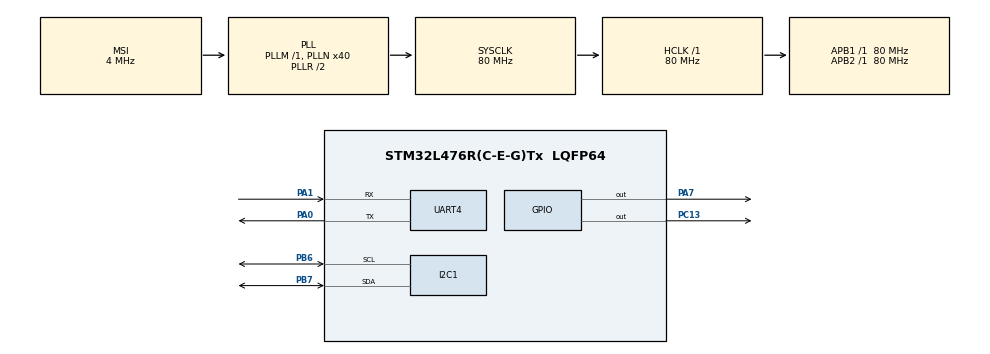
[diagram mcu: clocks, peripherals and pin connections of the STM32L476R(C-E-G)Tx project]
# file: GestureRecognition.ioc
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I2C1.Timing=0x10D19CE4
Mcu.Family=STM32L4
Mcu.Name=STM32L476R(C-E-G)Tx
Mcu.Package=LQFP64
NVIC.PriorityGroup=NVIC_PRIORITYGROUP_4
PA0.Mode=Asynchronous
PA0.Signal=UART4_TX
PA1.Mode=Asynchronous
PA1.Signal=UART4_RX
PA7.Signal=GPIO_Output
PB6.Mode=I2C
PB6.Signal=I2C1_SCL
PB7.Mode=I2C
PB7.Signal=I2C1_SDA
PC13.Signal=GPIO_Output
PH0-OSC_IN\ (PH0).Mode=HSE-External-Oscillator
PH0-OSC_IN\ (PH0).Signal=RCC_OSC_IN
PH1-OSC_OUT\ (PH1).Mode=HSE-External-Oscillator
PH1-OSC_OUT\ (PH1).Signal=RCC_OSC_OUT
ProjectManager.HeapSize=0x200
ProjectManager.StackSize=0x400
ProjectManager.TargetToolchain=STM32CubeIDE
RCC.AHBFreq_Value=80000000
RCC.APB1Freq_Value=80000000
RCC.APB1TimFreq_Value=80000000
RCC.APB2Freq_Value=80000000
RCC.APB2TimFreq_Value=80000000
RCC.CortexFreq_Value=80000000
RCC.HCLKFreq_Value=80000000
RCC.HSE_VALUE=8000000
RCC.HSI_VALUE=16000000
RCC.LSE_VALUE=32768
RCC.MSI_VALUE=4000000
RCC.PLLN=40
RCC.SYSCLKFreq_VALUE=80000000
RCC.SYSCLKSource=RCC_SYSCLKSOURCE_PLLCLK
RCC.VCOOutputFreq_Value=160000000
board=custom

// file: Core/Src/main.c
/* USER CODE BEGIN Header */
/**
  ******************************************************************************
  * @file           : main.c - STM32 Smart Wearable Firmware
  * Author			: Iskled Adebayo
  ******************************************************************************
  * @attention
  *
  * Copyright (c) 2025 STMicroelectronics.
  * All rights reserved.
  *
  * This software is licensed under terms that can be found in the LICENSE file
  * in the root directory of this software component.
  * If no LICENSE file comes with this software, it is provided AS-IS.
  *
  ******************************************************************************
  */
/* USER CODE END Header */
#include "main.h"
#include "stm32l4xx_hal.h"
#include "mpu6050.h"
#include "gesture_ai.h"
#include "ble_control.h"
#include "wifi_mqtt.h"

I2C_HandleTypeDef hi2c1; // I2C for MPU6050
UART_HandleTypeDef huart4; // UART4 for BLE
TIM_HandleTypeDef htim2; // Timer for periodic tasks

void SystemClock_Config(void);
void GPIO_Init(void);
void I2C1_Init(void);
void UART4_Init(void);
void TIM2_Init(void);
void HAL_TIM_PeriodElapsedCallback(TIM_HandleTypeDef *htim);

volatile int gesture_detected = GESTURE_NONE;

int main(void)
{

  /* MCU Configuration--------------------------------------------------------*/

  HAL_Init();

  /* Configure the system clock */
  SystemClock_Config();

  /* Initialize all configured peripherals */
  MX_GPIO_Init();
  MX_I2C1_Init();
  MX_UART4_Init();
  /* USER CODE BEGIN 2 */
  TIM2_Init();

  MPU6050_Init(&hi2c1);
    GestureAI_Init();
    BLE_Init(&huart4);
    WiFi_Init(&huart4);

    HAL_TIM_Base_Start_IT(&htim2);

  /* USER CODE END 2 */

  /* USER CODE BEGIN WHILE */
  while (1)
  {
	  if (gesture_detected != GESTURE_NONE) {
	             BLE_SendGesture(gesture_detected);
	             WiFi_SendGesture(gesture_detected);
	             gesture_detected = GESTURE_NONE;
	         }
    /* USER CODE END WHILE */

  }
}

void SystemClock_Config(void)
{
  RCC_OscInitTypeDef RCC_OscInitStruct = {0};
  RCC_ClkInitTypeDef RCC_ClkInitStruct = {0};

  /** Configure the main internal regulator output voltage
  */
  if (HAL_PWREx_ControlVoltageScaling(PWR_REGULATOR_VOLTAGE_SCALE1) != HAL_OK)
  {
    Error_Handler();
  }

  /** Initializes the RCC Oscillators according to the specified parameters
  * in the RCC_OscInitTypeDef structure.
  */
  RCC_OscInitStruct.OscillatorType = RCC_OSCILLATORTYPE_MSI;
  RCC_OscInitStruct.MSIState = RCC_MSI_ON;
  RCC_OscInitStruct.MSICalibrationValue = 0;
  RCC_OscInitStruct.MSIClockRange = RCC_MSIRANGE_6;
  RCC_OscInitStruct.PLL.PLLState = RCC_PLL_ON;
  RCC_OscInitStruct.PLL.PLLSource = RCC_PLLSOURCE_MSI;
  RCC_OscInitStruct.PLL.PLLM = 1;
  RCC_OscInitStruct.PLL.PLLN = 40;
  RCC_OscInitStruct.PLL.PLLP = RCC_PLLP_DIV7;
  RCC_OscInitStruct.PLL.PLLQ = RCC_PLLQ_DIV2;
  RCC_OscInitStruct.PLL.PLLR = RCC_PLLR_DIV2;
  if (HAL_RCC_OscConfig(&RCC_OscInitStruct) != HAL_OK)
  {
    Error_Handler();
  }

  /** Initializes the CPU, AHB and APB buses clocks
  */
  RCC_ClkInitStruct.ClockType = RCC_CLOCKTYPE_HCLK|RCC_CLOCKTYPE_SYSCLK
                              |RCC_CLOCKTYPE_PCLK1|RCC_CLOCKTYPE_PCLK2;
  RCC_ClkInitStruct.SYSCLKSource = RCC_SYSCLKSOURCE_PLLCLK;
  RCC_ClkInitStruct.AHBCLKDivider = RCC_SYSCLK_DIV1;
  RCC_ClkInitStruct.APB1CLKDivider = RCC_HCLK_DIV1;
  RCC_ClkInitStruct.APB2CLKDivider = RCC_HCLK_DIV1;

  if (HAL_RCC_ClockConfig(&RCC_ClkInitStruct, FLASH_LATENCY_4) != HAL_OK)
  {
    Error_Handler();
  }
}

static void MX_I2C1_Init(void)
{

  hi2c1.Instance = I2C1;
  hi2c1.Init.Timing = 0x10D19CE4;
  hi2c1.Init.OwnAddress1 = 0;
  hi2c1.Init.AddressingMode = I2C_ADDRESSINGMODE_7BIT;
  hi2c1.Init.DualAddressMode = I2C_DUALADDRESS_DISABLE;
  hi2c1.Init.OwnAddress2 = 0;
  hi2c1.Init.OwnAddress2Masks = I2C_OA2_NOMASK;
  hi2c1.Init.GeneralCallMode = I2C_GENERALCALL_DISABLE;
  hi2c1.Init.NoStretchMode = I2C_NOSTRETCH_DISABLE;
  if (HAL_I2C_Init(&hi2c1) != HAL_OK)
  {
    Error_Handler();
  }

  /** Configure Analogue filter
  */
  if (HAL_I2CEx_ConfigAnalogFilter(&hi2c1, I2C_ANALOGFILTER_ENABLE) != HAL_OK)
  {
    Error_Handler();
  }

  /** Configure Digital filter
  */
  if (HAL_I2CEx_ConfigDigitalFilter(&hi2c1, 0) != HAL_OK)
  {
    Error_Handler();
  }

}

static void MX_UART4_Init(void)
{

  huart4.Instance = UART4;
  huart4.Init.BaudRate = 115200;
  huart4.Init.WordLength = UART_WORDLENGTH_8B;
  huart4.Init.StopBits = UART_STOPBITS_1;
  huart4.Init.Parity = UART_PARITY_NONE;
  huart4.Init.Mode = UART_MODE_TX_RX;
  huart4.Init.HwFlowCtl = UART_HWCONTROL_NONE;
  huart4.Init.OverSampling = UART_OVERSAMPLING_16;
  huart4.Init.OneBitSampling = UART_ONE_BIT_SAMPLE_DISABLE;
  huart4.AdvancedInit.AdvFeatureInit = UART_ADVFEATURE_NO_INIT;
  if (HAL_UART_Init(&huart4) != HAL_OK)
  {
    Error_Handler();
  }

}

static void MX_GPIO_Init(void)
{
  GPIO_InitTypeDef GPIO_InitStruct = {0};

  /* GPIO Ports Clock Enable */
  __HAL_RCC_GPIOC_CLK_ENABLE();
  __HAL_RCC_GPIOH_CLK_ENABLE();
  __HAL_RCC_GPIOA_CLK_ENABLE();
  __HAL_RCC_GPIOB_CLK_ENABLE();

  /*Configure GPIO pin Output Level */
  HAL_GPIO_WritePin(GPIOC, GPIO_PIN_13, GPIO_PIN_RESET);

  /*Configure GPIO pin Output Level */
  HAL_GPIO_WritePin(GPIOA, GPIO_PIN_7, GPIO_PIN_RESET);

  /*Configure GPIO pin : PC13 */
  GPIO_InitStruct.Pin = GPIO_PIN_13;
  GPIO_InitStruct.Mode = GPIO_MODE_OUTPUT_PP;
  GPIO_InitStruct.Pull = GPIO_NOPULL;
  GPIO_InitStruct.Speed = GPIO_SPEED_FREQ_LOW;
  HAL_GPIO_Init(GPIOC, &GPIO_InitStruct);

  /*Configure GPIO pin : PA7 */
  GPIO_InitStruct.Pin = GPIO_PIN_7;
  GPIO_InitStruct.Mode = GPIO_MODE_OUTPUT_PP;
  GPIO_InitStruct.Pull = GPIO_NOPULL;
  GPIO_InitStruct.Speed = GPIO_SPEED_FREQ_LOW;
  HAL_GPIO_Init(GPIOA, &GPIO_InitStruct);

}

/* USER CODE BEGIN 4 */
void TIM2_Init(void) {
    htim2.Instance = TIM2;
    htim2.Init.Prescaler = 7999;
    htim2.Init.CounterMode = TIM_COUNTERMODE_UP;
    htim2.Init.Period = 1000;
    htim2.Init.ClockDivision = TIM_CLOCKDIVISION_DIV1;
    HAL_TIM_Base_Init(&htim2);
    HAL_NVIC_SetPriority(TIM2_IRQn, 0, 0);
    HAL_NVIC_EnableIRQ(TIM2_IRQn);
}

void I2C1_Init(void) {
    hi2c1.Instance = I2C1;
    hi2c1.Init.ClockSpeed = 400000;
    hi2c1.Init.DutyCycle = I2C_DUTYCYCLE_2;
    hi2c1.Init.OwnAddress1 = 0;
    hi2c1.Init.AddressingMode = I2C_ADDRESSINGMODE_7BIT;
    hi2c1.Init.DualAddressMode = I2C_DUALADDRESS_DISABLE;
    hi2c1.Init.GeneralCallMode = I2C_GENERALCALL_DISABLE;
    hi2c1.Init.NoStretchMode = I2C_NOSTRETCH_DISABLE;
    HAL_I2C_Init(&hi2c1);
}

void UART4_Init(void) {
    huart4.Instance = UART4;
    huart4.Init.BaudRate = 115200;
    huart4.Init.WordLength = UART_WORDLENGTH_8B;
    huart4.Init.StopBits = UART_STOPBITS_1;
    huart4.Init.Parity = UART_PARITY_NONE;
    huart4.Init.Mode = UART_MODE_TX_RX;
    huart4.Init.HwFlowCtl = UART_HWCONTROL_NONE;
    huart4.Init.OverSampling = UART_OVERSAMPLING_16;
    HAL_UART_Init(&huart4);
}

void HAL_TIM_PeriodElapsedCallback(TIM_HandleTypeDef *htim) {
    if (htim->Instance == TIM2) {
        MPU6050_Data data;
        MPU6050_ReadData(&hi2c1, &data);
        gesture_detected = GestureAI_Recognize(&data);
    }
}

/* USER CODE END 4 */

/**

  */
void Error_Handler(void)
{

  __disable_irq();
  while (1)
  {
  }
  /* USER CODE END Error_Handler_Debug */
}
